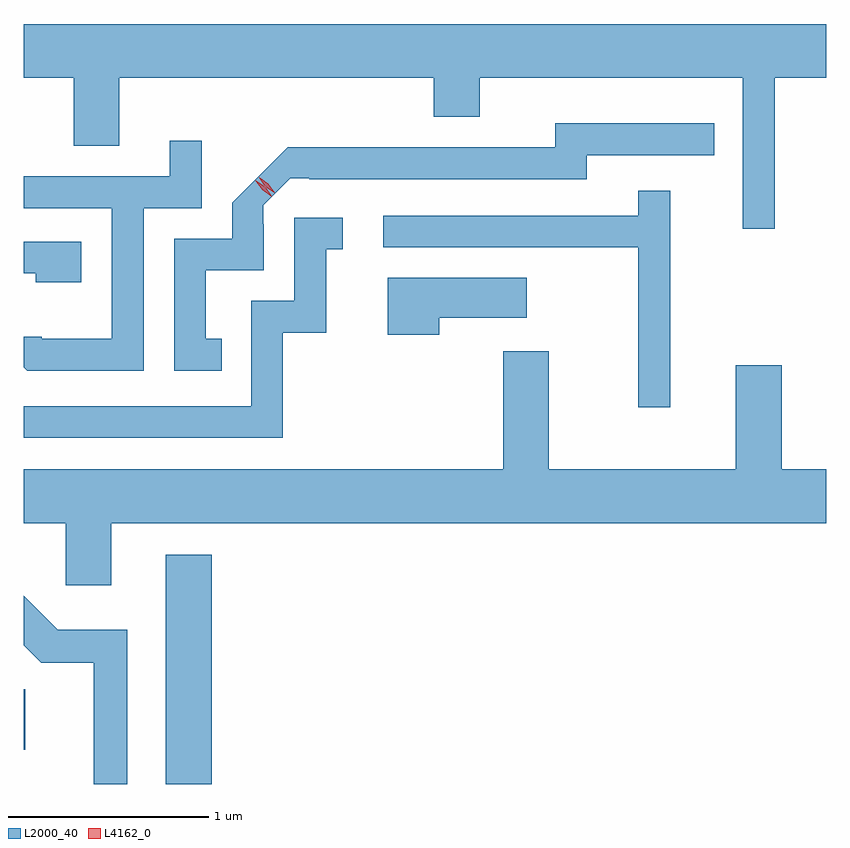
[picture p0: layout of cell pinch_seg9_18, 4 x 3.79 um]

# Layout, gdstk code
import gdstk
lib = gdstk.Library(unit=1e-6, precision=1e-09)
def R(c, l, rs):  # rectangles x0, y0, x1, y1
    for r in rs: c.add(gdstk.rectangle(r[:2], r[2:], *l))
def P(c, l, *ps):  # polygons
    for p in ps: c.add(gdstk.Polygon(p, *l))
L2000_40 = (2000, 40)
L4162_0 = (4162, 0)

pinch_seg9_18 = lib.new_cell('pinch_seg9_18')
R(pinch_seg9_18, L2000_40, [(848.341,1968.316,848.569,1969.459), (847.632,1968.486,847.639,1968.789)])
P(pinch_seg9_18, L2000_40, [(851.374,1971.836),(851.632,1971.836),(851.632,1972.104),(847.632,1972.104),(847.632,1971.836),(847.881,1971.836),(847.881,1971.496),(848.109,1971.496),(848.109,1971.836),(849.676,1971.836),(849.676,1971.641),(849.904,1971.641),(849.904,1971.836),(851.216,1971.836),(851.216,1971.083),(851.374,1971.083)],
  [(848.618,1970.534),(848.539,1970.534),(848.539,1970.876),(848.829,1970.876),(848.829,1971.105),(848.825,1971.105),(848.825,1971.2),(848.961,1971.335),(849.055,1971.335),(849.055,1971.331),(850.439,1971.331),(850.439,1971.451),(851.073,1971.451),(851.073,1971.609),(850.281,1971.609),(850.281,1971.489),(848.948,1971.489),(848.671,1971.213),(848.671,1971.034),(848.381,1971.034),(848.381,1970.376),(848.618,1970.376)],
  [(848.229,1971.186),(848.519,1971.186),(848.519,1971.523),(848.361,1971.523),(848.361,1971.344),(847.632,1971.344),(847.632,1971.186),(848.071,1971.186),(848.071,1970.534),(847.721,1970.534),(847.721,1970.544),(847.632,1970.544),(847.632,1970.394),(847.65,1970.376),(848.229,1970.376)],
  [(850.854,1971.273),(850.696,1971.273),(850.696,1971.149),(849.423,1971.149),(849.423,1970.991),(850.696,1970.991),(850.696,1970.193),(850.854,1970.193)],
  [(848.924,1970.566),(849.139,1970.566),(849.139,1970.981),(849.223,1970.981),(849.223,1971.139),(848.981,1971.139),(848.981,1970.724),(848.766,1970.724),(848.766,1970.199),(847.632,1970.199),(847.632,1970.041),(848.924,1970.041)],
  [(847.919,1971.019),(847.632,1971.019),(847.632,1970.861),(847.691,1970.861),(847.691,1970.816),(847.919,1970.816)],
  [(849.704,1970.641),(850.139,1970.641),(850.139,1970.839),(849.446,1970.839),(849.446,1970.556),(849.704,1970.556)],
  [(851.632,1969.884),(851.409,1969.884),(851.409,1970.404),(851.181,1970.404),(851.181,1969.884),(850.249,1969.884),(850.249,1970.474),(850.021,1970.474),(850.021,1969.884),(847.632,1969.884),(847.632,1969.616),(847.841,1969.616),(847.841,1969.306),(848.069,1969.306),(848.069,1969.616),(851.632,1969.616)],
  [(848.149,1969.084),(847.802,1969.084),(847.632,1969.254),(847.632,1969.008),(847.719,1968.921),(847.981,1968.921),(847.981,1968.316),(848.149,1968.316)])
P(pinch_seg9_18, L4162_0, [(848.869,1971.244),(848.821,1971.278),(848.786,1971.325),(848.786,1971.326),(848.787,1971.326),(848.835,1971.292),(848.869,1971.245),(848.869,1971.244)],
  [(848.881,1971.262),(848.837,1971.293),(848.806,1971.338),(848.806,1971.339),(848.806,1971.339),(848.851,1971.308),(848.882,1971.263),(848.882,1971.262)])

lib.write_gds('pinch_seg9_18.gds')
